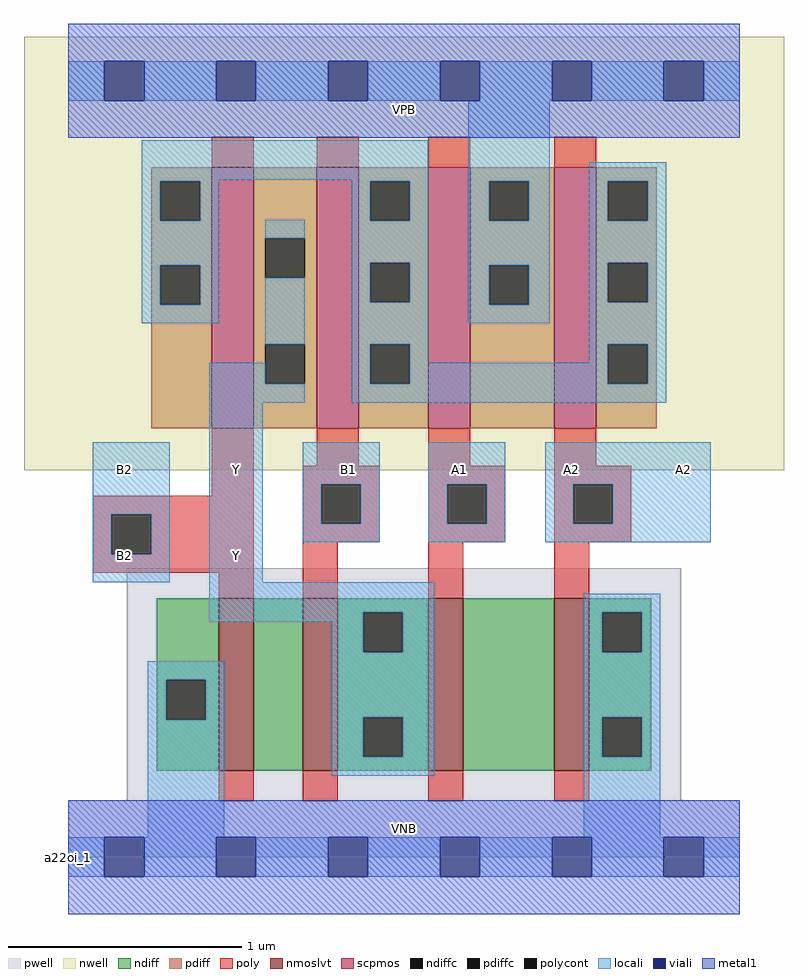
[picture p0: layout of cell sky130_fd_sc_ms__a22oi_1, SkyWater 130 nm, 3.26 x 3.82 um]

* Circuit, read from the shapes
.subckt sky130_fd_sc_ms__a22oi_1 A1 A2 B1 B2 VGND VNB VPB VPWR Y
XM1 n1 B2 VGND VNB sky130_fd_pr__nfet_01v8_lvt w=0.74 l=0.15
XM2 Y B1 n1 VNB sky130_fd_pr__nfet_01v8_lvt w=0.74 l=0.15
XM3 n2 A1 Y VNB sky130_fd_pr__nfet_01v8_lvt w=0.74 l=0.15
XM4 VGND A2 n2 VNB sky130_fd_pr__nfet_01v8_lvt w=0.74 l=0.15
XM5 Y B2 n3 VPB sky130_fd_pr__pfet_01v8 w=1.12 l=0.18
XM6 n3 B1 Y VPB sky130_fd_pr__pfet_01v8 w=1.12 l=0.18
XM7 VPWR A1 n3 VPB sky130_fd_pr__pfet_01v8 w=1.12 l=0.18
XM8 n3 A2 VPWR VPB sky130_fd_pr__pfet_01v8 w=1.12 l=0.18
.ends

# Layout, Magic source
magic
tech sky130A
magscale 1 2
<< nwell >>
rect -38 332 614 704
<< pwell >>
rect 50 49 526 248
rect 0 0 576 49
<< scpmos >>
rect 123 368 159 592
rect 213 368 249 592
rect 309 368 345 592
rect 417 368 453 592
<< nmoslvt >>
rect 129 74 159 222
rect 201 74 231 222
rect 309 74 339 222
rect 417 74 447 222
<< ndiff >>
rect 76 152 129 222
rect 76 118 84 152
rect 118 118 129 152
rect 76 74 129 118
rect 159 74 201 222
rect 231 210 309 222
rect 231 176 253 210
rect 287 176 309 210
rect 231 120 309 176
rect 231 86 253 120
rect 287 86 309 120
rect 231 74 309 86
rect 339 74 417 222
rect 447 210 500 222
rect 447 176 458 210
rect 492 176 500 210
rect 447 120 500 176
rect 447 86 458 120
rect 492 86 500 120
rect 447 74 500 86
<< pdiff >>
rect 71 580 123 592
rect 71 546 79 580
rect 113 546 123 580
rect 71 508 123 546
rect 71 474 79 508
rect 113 474 123 508
rect 71 368 123 474
rect 159 531 213 592
rect 159 497 169 531
rect 203 497 213 531
rect 159 440 213 497
rect 159 406 169 440
rect 203 406 213 440
rect 159 368 213 406
rect 249 580 309 592
rect 249 546 259 580
rect 293 546 309 580
rect 249 510 309 546
rect 249 476 259 510
rect 293 476 309 510
rect 249 440 309 476
rect 249 406 259 440
rect 293 406 309 440
rect 249 368 309 406
rect 345 580 417 592
rect 345 546 361 580
rect 395 546 417 580
rect 345 508 417 546
rect 345 474 361 508
rect 395 474 417 508
rect 345 368 417 474
rect 453 580 505 592
rect 453 546 463 580
rect 497 546 505 580
rect 453 510 505 546
rect 453 476 463 510
rect 497 476 505 510
rect 453 440 505 476
rect 453 406 463 440
rect 497 406 505 440
rect 453 368 505 406
<< ndiffc >>
rect 84 118 118 152
rect 253 176 287 210
rect 253 86 287 120
rect 458 176 492 210
rect 458 86 492 120
<< pdiffc >>
rect 79 546 113 580
rect 79 474 113 508
rect 169 497 203 531
rect 169 406 203 440
rect 259 546 293 580
rect 259 476 293 510
rect 259 406 293 440
rect 361 546 395 580
rect 361 474 395 508
rect 463 546 497 580
rect 463 476 497 510
rect 463 406 497 440
<< poly >>
rect 123 592 159 618
rect 213 592 249 618
rect 309 592 345 618
rect 417 592 453 618
rect 123 310 159 368
rect 213 336 249 368
rect 309 336 345 368
rect 417 336 453 368
rect 21 294 159 310
rect 21 260 37 294
rect 71 260 159 294
rect 21 244 159 260
rect 129 222 159 244
rect 201 320 267 336
rect 201 286 217 320
rect 251 286 267 320
rect 201 270 267 286
rect 309 320 375 336
rect 309 286 325 320
rect 359 286 375 320
rect 309 270 375 286
rect 417 320 483 336
rect 417 286 433 320
rect 467 286 483 320
rect 417 270 483 286
rect 201 222 231 270
rect 309 222 339 270
rect 417 222 447 270
rect 129 48 159 74
rect 201 48 231 74
rect 309 48 339 74
rect 417 48 447 74
<< polycont >>
rect 37 260 71 294
rect 217 286 251 320
rect 325 286 359 320
rect 433 286 467 320
<< locali >>
rect 0 649 31 683
rect 65 649 127 683
rect 161 649 223 683
rect 257 649 319 683
rect 353 649 415 683
rect 449 649 511 683
rect 545 649 576 683
rect 63 581 309 615
rect 63 580 129 581
rect 63 546 79 580
rect 113 546 129 580
rect 243 580 309 581
rect 63 508 129 546
rect 63 474 79 508
rect 113 474 129 508
rect 63 458 129 474
rect 169 531 203 547
rect 169 440 203 497
rect 121 406 169 424
rect 121 390 203 406
rect 243 546 259 580
rect 293 546 309 580
rect 243 510 309 546
rect 243 476 259 510
rect 293 476 309 510
rect 243 440 309 476
rect 343 580 413 649
rect 343 546 361 580
rect 395 546 413 580
rect 343 508 413 546
rect 343 474 361 508
rect 395 474 413 508
rect 343 458 413 474
rect 447 580 513 596
rect 447 546 463 580
rect 497 546 513 580
rect 447 510 513 546
rect 447 476 463 510
rect 497 476 513 510
rect 243 406 259 440
rect 293 424 309 440
rect 447 440 513 476
rect 447 424 463 440
rect 293 406 463 424
rect 497 406 513 440
rect 243 390 513 406
rect 21 294 87 356
rect 21 260 37 294
rect 71 260 87 294
rect 21 236 87 260
rect 121 236 167 390
rect 201 320 267 356
rect 201 286 217 320
rect 251 286 267 320
rect 201 270 267 286
rect 309 320 375 356
rect 309 286 325 320
rect 359 286 375 320
rect 309 270 375 286
rect 409 320 551 356
rect 409 286 433 320
rect 467 286 551 320
rect 409 270 551 286
rect 121 210 314 236
rect 121 202 253 210
rect 226 176 253 202
rect 287 176 314 210
rect 68 152 134 168
rect 68 118 84 152
rect 118 118 134 152
rect 68 17 134 118
rect 226 120 314 176
rect 226 86 253 120
rect 287 86 314 120
rect 226 70 314 86
rect 442 210 508 226
rect 442 176 458 210
rect 492 176 508 210
rect 442 120 508 176
rect 442 86 458 120
rect 492 86 508 120
rect 442 17 508 86
rect 0 -17 31 17
rect 65 -17 127 17
rect 161 -17 223 17
rect 257 -17 319 17
rect 353 -17 415 17
rect 449 -17 511 17
rect 545 -17 576 17
<< viali >>
rect 31 649 65 683
rect 127 649 161 683
rect 223 649 257 683
rect 319 649 353 683
rect 415 649 449 683
rect 511 649 545 683
rect 31 -17 65 17
rect 127 -17 161 17
rect 223 -17 257 17
rect 319 -17 353 17
rect 415 -17 449 17
rect 511 -17 545 17
<< metal1 >>
rect 0 683 576 715
rect 0 649 31 683
rect 65 649 127 683
rect 161 649 223 683
rect 257 649 319 683
rect 353 649 415 683
rect 449 649 511 683
rect 545 649 576 683
rect 0 617 576 649
rect 0 17 576 49
rect 0 -17 31 17
rect 65 -17 127 17
rect 161 -17 223 17
rect 257 -17 319 17
rect 353 -17 415 17
rect 449 -17 511 17
rect 545 -17 576 17
rect 0 -49 576 -17
<< labels >>
flabel pwell s 0 0 576 49 0 FreeSans 200 0 0 0 VNB
port 6 nsew ground bidirectional
flabel nwell s 0 617 576 666 0 FreeSans 200 0 0 0 VPB
port 7 nsew power bidirectional
rlabel comment s 0 0 0 0 4 a22oi_1
flabel metal1 s 0 617 576 666 0 FreeSans 340 0 0 0 VPWR
port 8 nsew power bidirectional
flabel metal1 s 0 0 576 49 0 FreeSans 340 0 0 0 VGND
port 5 nsew ground bidirectional
flabel locali s 31 242 65 276 0 FreeSans 340 0 0 0 B2
port 4 nsew signal input
flabel locali s 31 316 65 350 0 FreeSans 340 0 0 0 B2
port 4 nsew signal input
flabel locali s 127 242 161 276 0 FreeSans 340 0 0 0 Y
port 9 nsew signal output
flabel locali s 127 316 161 350 0 FreeSans 340 0 0 0 Y
port 9 nsew signal output
flabel locali s 223 316 257 350 0 FreeSans 340 0 0 0 B1
port 3 nsew signal input
flabel locali s 415 316 449 350 0 FreeSans 340 0 0 0 A2
port 2 nsew signal input
flabel locali s 511 316 545 350 0 FreeSans 340 0 0 0 A2
port 2 nsew signal input
flabel locali s 319 316 353 350 0 FreeSans 340 0 0 0 A1
port 1 nsew signal input
<< properties >>
string LEFsite unit
string LEFclass CORE
string FIXED_BBOX 0 0 576 666
string GDS_FILE $PDKPATH/libs.ref/sky130_fd_sc_ms/gds/sky130_fd_sc_ms.gds
string LEFsymmetry X Y
string GDS_END 339006
string GDS_START 333408
<< end >>
